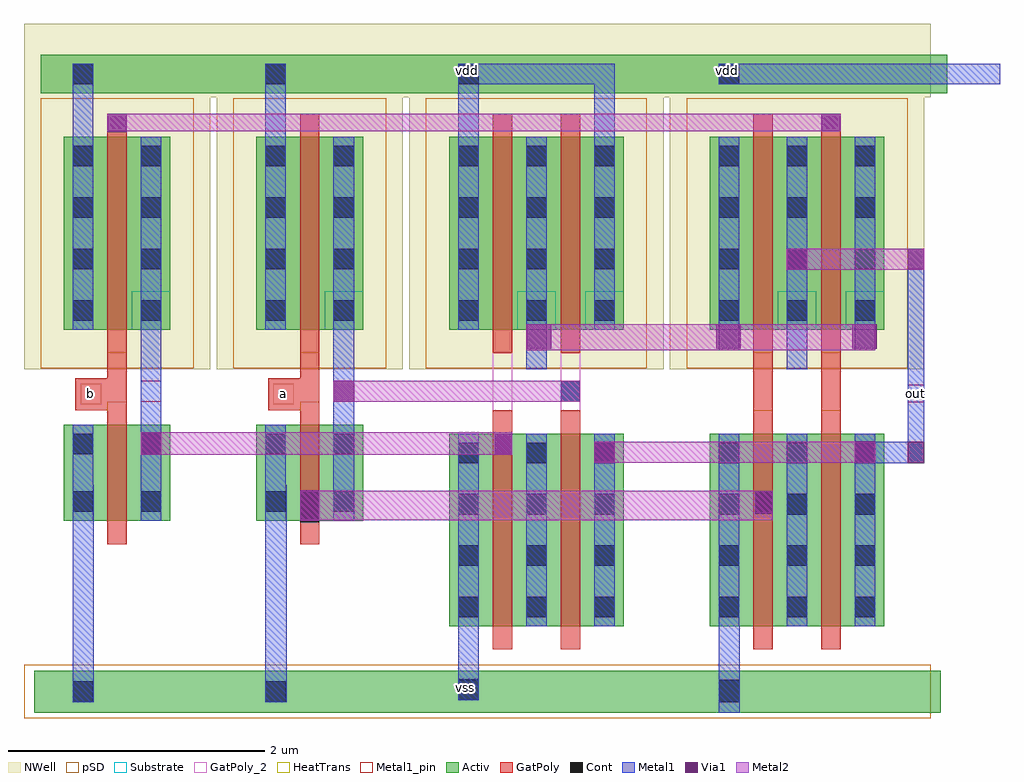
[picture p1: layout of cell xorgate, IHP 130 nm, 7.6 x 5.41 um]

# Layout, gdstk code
from math import pi, radians
import gdstk
lib = gdstk.Library(unit=1e-6, precision=5e-09)
def R(c, l, rs):  # rectangles x0, y0, x1, y1
    for r in rs: c.add(gdstk.rectangle(r[:2], r[2:], *l))
def A(c, l, x, y, w, h, nx, ny, dx, dy):  # array of equal rectangles
    R(c, l, [(x+i*dx, y+j*dy, x+i*dx+w, y+j*dy+h) for i in range(nx) for j in range(ny)])
Activ = (1, 0)
GatPoly = (5, 0)
GatPoly_2 = (5, 2)
Cont = (6, 0)
Metal1 = (8, 0)
Metal1_pin = (8, 2)
Metal2 = (10, 0)
pSD = (14, 0)
Via1 = (19, 0)
NWell = (31, 0)
Substrate = (40, 0)
HeatTrans = (51, 0)

nmos_1 = lib.new_cell('nmos$1')
R(nmos_1, Activ, [(0,0,0.3,0.3), (0,0,0.83,1.5), (0.53,0,0.83,0.3)])
R(nmos_1, GatPoly, [(0.34,-0.18,0.49,1.68)])
R(nmos_1, GatPoly_2, [(0.34,-0.18,0.49,1.68)])
A(nmos_1, Cont, 0.07, 0.07, 0.16, 0.16, 1, 4, 0, 0.4)
A(nmos_1, Cont, 0.6, 0.07, 0.16, 0.16, 1, 4, 0, 0.4)
R(nmos_1, Metal1, [(0.07,0,0.23,1.5), (0.6,0,0.76,1.5)])
R(nmos_1, Metal1_pin, [(0.07,0,0.23,1.5), (0.6,0,0.76,1.5)])
R(nmos_1, HeatTrans, [(0.34,-0.18,0.49,1.68)])
nmos_1.add(gdstk.Label('nmos', (0.415,0.75), layer=63, texttype=0))
nmos_1.add(gdstk.Label('nmos', (0.415,0.75), layer=51, texttype=0))

pmos = lib.new_cell('pmos')
R(pmos, Activ, [(0,0,0.3,0.3), (0,0,0.83,1.5), (0.53,0,0.83,0.3)])
R(pmos, GatPoly, [(0.34,-0.18,0.49,1.68), (0.34,-0.18,0.49,1.68)])
A(pmos, Cont, 0.07, 0.07, 0.16, 0.16, 1, 4, 0, 0.4)
A(pmos, Cont, 0.6, 0.07, 0.16, 0.16, 1, 4, 0, 0.4)
R(pmos, Metal1, [(0.07,0,0.23,1.5), (0.07,0,0.23,1.5), (0.6,0,0.76,1.5), (0.6,0,0.76,1.5)])
R(pmos, pSD, [(-0.18,-0.3,1.01,1.8)])
R(pmos, NWell, [(-0.31,-0.31,1.14,1.81)])
R(pmos, Substrate, [(0.53,0,0.83,0.3)])
R(pmos, HeatTrans, [(0.34,-0.18,0.49,1.68)])
pmos.add(gdstk.Label('pmos', (0.415,0.75), layer=63, texttype=0))
pmos.add(gdstk.Label('pmos', (0.415,0.75), layer=51, texttype=0))

nmos_4 = lib.new_cell('nmos$4')
R(nmos_4, Activ, [(0,0,0.3,0.3), (0,0,0.83,0.75), (0.53,0,0.83,0.3)])
R(nmos_4, GatPoly, [(0.34,-0.18,0.49,0.93)])
R(nmos_4, GatPoly_2, [(0.34,-0.18,0.49,0.93)])
R(nmos_4, Cont, [(0.07,0.07,0.23,0.23), (0.6,0.07,0.76,0.23), (0.07,0.52,0.23,0.68), (0.6,0.52,0.76,0.68)])
R(nmos_4, Metal1, [(0.07,0,0.23,0.75), (0.6,0,0.76,0.75)])
R(nmos_4, Metal1_pin, [(0.07,0,0.23,0.75), (0.6,0,0.76,0.75)])
R(nmos_4, HeatTrans, [(0.34,-0.18,0.49,0.93)])
nmos_4.add(gdstk.Label('nmos', (0.415,0.375), layer=63, texttype=0))
nmos_4.add(gdstk.Label('nmos', (0.415,0.375), layer=51, texttype=0))

pmos_4 = lib.new_cell('pmos$4')
R(pmos_4, Activ, [(0,0,0.3,0.3), (0,0,0.83,1.5), (0.53,0,0.83,0.3)])
R(pmos_4, GatPoly, [(0.34,-0.18,0.49,1.68), (0.34,-0.18,0.49,1.68)])
A(pmos_4, Cont, 0.07, 0.07, 0.16, 0.16, 1, 4, 0, 0.4)
A(pmos_4, Cont, 0.6, 0.07, 0.16, 0.16, 1, 4, 0, 0.4)
R(pmos_4, Metal1, [(0.07,0,0.23,1.5), (0.07,0,0.23,1.5), (0.6,0,0.76,1.5), (0.6,0,0.76,1.5)])
R(pmos_4, pSD, [(-0.18,-0.3,1.01,1.8)])
R(pmos_4, NWell, [(-0.31,-0.31,1.14,1.81)])
R(pmos_4, Substrate, [(0.53,0,0.83,0.3)])
R(pmos_4, HeatTrans, [(0.34,-0.18,0.49,1.68)])
pmos_4.add(gdstk.Label('pmos', (0.415,0.75), layer=63, texttype=0))
pmos_4.add(gdstk.Label('pmos', (0.415,0.75), layer=51, texttype=0))

inverter_3 = lib.new_cell('inverter$3')
R(inverter_3, Activ, [(-0.845,-2.62,0.395,-2.29), (-0.795,2.205,0.285,2.505)])
R(inverter_3, GatPoly, [(-0.525,-0.265,-0.275,-0.015), (-0.275,-0.195,-0.125,0.185)])
R(inverter_3, GatPoly_2, [(-0.485,-0.215,-0.325,-0.055)])
R(inverter_3, Cont, [(-0.545,-2.535,-0.385,-2.375), (-0.545,-2.535,-0.385,-2.375), (-0.545,2.275,-0.385,2.435)])
R(inverter_3, Metal1, [(-0.545,-2.535,-0.38,-0.845), (-0.015,-0.375,0.145,0.365), (-0.545,1.865,-0.385,2.435)])
R(inverter_3, Metal1_pin, [(-0.015,-0.195,0.145,-0.035)])
R(inverter_3, pSD, [(-0.925,-2.66,0.525,-2.245)])
R(inverter_3, NWell, [(-0.925,2.175,0.525,2.745)])
inverter_3.add(gdstk.Reference(nmos_4, (-0.615,-1.125)))
inverter_3.add(gdstk.Reference(pmos_4, (-0.615,0.365)))
inverter_3.add(gdstk.Label('vss', (-0.475,-2.43), layer=8, texttype=2))
inverter_3.add(gdstk.Label('vdd', (-0.465,2.355), layer=8, texttype=2))
inverter_3.add(gdstk.Label('out', (0.06,-0.09), layer=8, texttype=2))
inverter_3.add(gdstk.Label('in', (-0.45,-0.11), layer=5, texttype=2))

xorgate = lib.new_cell('xorgate')
R(xorgate, Activ, [(-5.875,-2.62,-0.845,-2.29), (-0.845,-2.62,1.185,-2.29), (-5.825,2.205,-0.795,2.505), (-0.795,2.205,1.235,2.505)])
R(xorgate, GatPoly, [(-0.275,-0.265,-0.125,0.185), (0.255,-0.265,0.405,0.185)])
R(xorgate, GatPoly_2, [(-2.305,-0.265,-2.155,0.185), (-1.775,-0.265,-1.625,0.185), (-5.515,-0.215,-5.355,-0.055)])
R(xorgate, Cont, [(-0.545,-2.535,-0.38,-2.36), (-2.575,-2.52,-2.415,-2.36), (-3.805,-1.135,-3.655,-0.895), (-0.265,-1.07,-0.125,-0.89), (-1.775,-0.195,-1.625,-0.035), (-2.575,2.275,-2.415,2.435), (-0.545,2.275,-0.385,2.435)])
R(xorgate, Metal1, [(-0.545,-2.62,-0.38,-1.945), (-2.575,-2.52,-2.415,-0.445), (0.675,-0.675,1.055,-0.51), (0.925,-0.675,1.055,0.995), (-2.29,-0.61,-2.155,-0.445), (-1.775,-0.195,-1.625,-0.04), (-2.045,0.055,-1.885,0.365), (-0.015,0.055,0.145,0.365), (-0.545,0.205,-0.385,0.365), (0.515,0.205,0.675,0.365), (-2.575,0.365,-2.415,2.435), (-2.575,1.865,-2.415,2.435), (-1.515,1.865,-1.355,2.435), (-2.575,2.275,-1.355,2.435), (-0.545,2.275,0.675,2.435), (0.675,2.275,1.645,2.435)])
R(xorgate, Metal1_pin, [(-2.575,-2.52,-2.415,-2.355), (0.925,-0.2,1.055,-0.065), (-2.575,2.275,-2.415,2.435), (-0.545,2.275,-0.385,2.435)])
R(xorgate, Metal2, [(-3.805,-1.12,-0.125,-0.89), (-1.515,-0.67,0.675,-0.51), (-5.045,-0.61,-2.155,-0.435), (-3.545,-0.195,-1.625,-0.035), (-2.045,0.205,0.675,0.405), (-0.015,0.83,1.055,0.995), (-5.305,1.91,0.405,2.045)])
R(xorgate, pSD, [(-5.955,-2.66,-0.925,-2.245), (-0.925,-2.66,1.105,-2.245)])
R(xorgate, Via1, [(-3.805,-1.125,-3.655,-0.885), (-0.265,-1.065,-0.125,-0.89), (0.925,-0.675,1.055,-0.51), (0.515,-0.67,0.675,-0.505), (-1.515,-0.665,-1.355,-0.51), (-5.045,-0.61,-4.885,-0.44), (-2.29,-0.61,-2.155,-0.445), (-3.545,-0.195,-3.385,-0.035), (-2.04,0.215,-1.85,0.405), (-0.565,0.215,-0.375,0.405), (0.495,0.215,0.685,0.405), (-0.015,0.835,0.145,0.995), (0.925,0.84,1.055,0.995), (-5.305,1.9,-5.155,2.045), (0.255,1.91,0.405,2.045)])
R(xorgate, NWell, [(-5.955,2.175,-0.925,2.745), (-0.925,2.175,1.105,2.745)])
xorgate.add(gdstk.Reference(nmos_1, (0.745,-0.445), rotation=pi))
xorgate.add(gdstk.Reference(nmos_1, (-0.615,-1.945)))
xorgate.add(gdstk.Reference(pmos, (-0.615,0.365)))
xorgate.add(gdstk.Reference(pmos, (-0.085,0.365)))
xorgate.add(gdstk.Reference(pmos, (-2.645,0.365)))
xorgate.add(gdstk.Reference(pmos, (-2.115,0.365)))
xorgate.add(gdstk.Reference(nmos_1, (-1.285,-0.445), rotation=pi))
xorgate.add(gdstk.Reference(nmos_1, (-2.645,-1.945)))
xorgate.add(gdstk.Reference(inverter_3, (-3.53,0)))
xorgate.add(gdstk.Reference(inverter_3, (-5.03,0)))
xorgate.add(gdstk.Label('vdd', (-2.505,2.38), layer=8, texttype=2))
xorgate.add(gdstk.Label('vss', (-2.515,-2.425), layer=8, texttype=2))
xorgate.add(gdstk.Label('out', (0.99,-0.135), layer=8, texttype=2))
xorgate.add(gdstk.Label('vdd', (-0.475,2.38), layer=8, texttype=2))
xorgate.add(gdstk.Label('b', (-5.435,-0.135), layer=5, texttype=2))
xorgate.add(gdstk.Label('a', (-3.935,-0.135), layer=5, texttype=2))

lib.write_gds('xorgate.gds')
